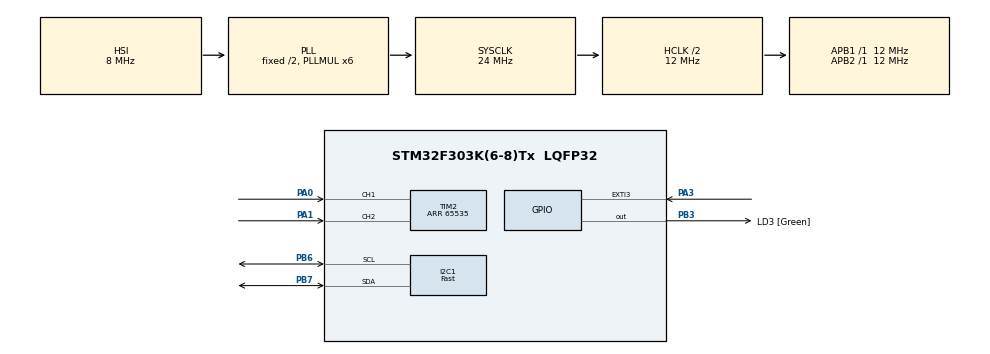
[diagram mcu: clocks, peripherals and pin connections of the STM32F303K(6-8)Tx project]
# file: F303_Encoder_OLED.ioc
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I2C1.I2C_Speed_Mode=I2C_Fast
I2C1.Timing=0x0000020B
Mcu.Family=STM32F3
Mcu.Name=STM32F303K(6-8)Tx
Mcu.Package=LQFP32
NVIC.EXTI3_IRQn=true\:0\:0\:false\:false\:true\:true\:true
NVIC.PriorityGroup=NVIC_PRIORITYGROUP_4
PA0.Signal=S_TIM2_CH1_ETR
PA1.Signal=S_TIM2_CH2
PA13.GPIO_Label=SWDIO
PA13.Mode=Serial_Wire
PA13.Signal=SYS_JTMS-SWDIO
PA14.GPIO_Label=SWCLK
PA14.Mode=Serial_Wire
PA14.Signal=SYS_JTCK-SWCLK
PA15.GPIO_Label=VCP_RX
PA15.Signal=USART2_RX
PA3.Signal=GPXTI3
PB3.GPIO_Label=LD3 [Green]
PB3.Signal=GPIO_Output
PB6.Mode=I2C
PB6.Signal=I2C1_SCL
PB7.Mode=I2C
PB7.Signal=I2C1_SDA
PF0\ /\ OSC_IN.GPIO_Label=MCO
PF0\ /\ OSC_IN.Mode=HSE-External-Oscillator
PF0\ /\ OSC_IN.Signal=RCC_OSC_IN
PF1\ /\ OSC_OUT.Mode=HSE-External-Oscillator
PF1\ /\ OSC_OUT.Signal=RCC_OSC_OUT
ProjectManager.HeapSize=0x200
ProjectManager.StackSize=0x400
ProjectManager.TargetToolchain=STM32CubeIDE
RCC.AHBCLKDivider=RCC_SYSCLK_DIV2
RCC.AHBFreq_Value=12000000
RCC.APB1Freq_Value=12000000
RCC.APB1TimFreq_Value=12000000
RCC.APB2Freq_Value=12000000
RCC.APB2TimFreq_Value=12000000
RCC.CortexFreq_Value=12000000
RCC.HCLKFreq_Value=12000000
RCC.HSE_VALUE=8000000
RCC.HSI_VALUE=8000000
RCC.PLLMUL=RCC_PLL_MUL6
RCC.SYSCLKFreq_VALUE=24000000
RCC.SYSCLKSourceVirtual=RCC_SYSCLKSOURCE_PLLCLK
SH.S_TIM2_CH1_ETR.0=TIM2_CH1,Encoder_Interface
SH.S_TIM2_CH2.0=TIM2_CH2,Encoder_Interface
TIM2.EncoderMode=TIM_ENCODERMODE_TI12
TIM2.Period=65535
board=NUCLEO-F303K8

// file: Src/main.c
/* USER CODE BEGIN Header */
/**
  ******************************************************************************
  * @file           : main.c
  * @brief          : Main program body
  ******************************************************************************
  * @attention
  *
  * <h2><center>&copy; Copyright (c) 2019 STMicroelectronics.
  * All rights reserved.</center></h2>
  *
  * This software component is licensed by ST under BSD 3-Clause license,
  * the "License"; You may not use this file except in compliance with the
  * License. You may obtain a copy of the License at:
  *                        opensource.org/licenses/BSD-3-Clause
  *
  ******************************************************************************
  */
/* USER CODE END Header */

#include "main.h"

/* USER CODE BEGIN Includes */
#include "ssd1306.h"
/* USER CODE END Includes */

I2C_HandleTypeDef hi2c1;

TIM_HandleTypeDef htim2;

/* USER CODE BEGIN PV */
int16_t n_pulsos_a = 0;
int16_t prev_a = 0;
/* USER CODE END PV */

void SystemClock_Config(void);
static void MX_GPIO_Init(void);
static void MX_I2C1_Init(void);
static void MX_TIM2_Init(void);

int main(void)
{

  /* MCU Configuration--------------------------------------------------------*/

  /* Reset of all peripherals, Initializes the Flash interface and the Systick. */
  HAL_Init();

  /* Configure the system clock */
  SystemClock_Config();

  /* Initialize all configured peripherals */
  MX_GPIO_Init();
  MX_I2C1_Init();
  MX_TIM2_Init();
  /* USER CODE BEGIN 2 */
  set_oled_addr(0x78);
  ssd1306_sel_I2C(&hi2c1);
  SSD1306_Init ();

  SSD1306_Putint(n_pulsos_a, 1);
  SSD1306_UpdateScreen();

  HAL_TIM_Encoder_Start(&htim2, TIM_CHANNEL_2);
  /* USER CODE END 2 */

  /* Infinite loop */
  /* USER CODE BEGIN WHILE */
  while (1)
  {
	  n_pulsos_a = (TIM2->CNT);
	  n_pulsos_a = n_pulsos_a/4;
	  if(n_pulsos_a < 0){
		  n_pulsos_a = 0;
		  TIM2->CNT = 0;
	  }
	  if (n_pulsos_a > 100){
		  n_pulsos_a = 100;
		  TIM2->CNT = 400;
	  }

	  if (prev_a != n_pulsos_a){
		  prev_a = n_pulsos_a;
		  SSD1306_Putint(n_pulsos_a, 1);
		  SSD1306_UpdateScreen();
	  	  }

	  HAL_Delay(50);
    /* USER CODE END WHILE */

  }
}

void SystemClock_Config(void)
{
  RCC_OscInitTypeDef RCC_OscInitStruct = {0};
  RCC_ClkInitTypeDef RCC_ClkInitStruct = {0};
  RCC_PeriphCLKInitTypeDef PeriphClkInit = {0};

  /** Initializes the CPU, AHB and APB busses clocks
  */
  RCC_OscInitStruct.OscillatorType = RCC_OSCILLATORTYPE_HSI;
  RCC_OscInitStruct.HSIState = RCC_HSI_ON;
  RCC_OscInitStruct.HSICalibrationValue = RCC_HSICALIBRATION_DEFAULT;
  RCC_OscInitStruct.PLL.PLLState = RCC_PLL_ON;
  RCC_OscInitStruct.PLL.PLLSource = RCC_PLLSOURCE_HSI;
  RCC_OscInitStruct.PLL.PLLMUL = RCC_PLL_MUL6;
  if (HAL_RCC_OscConfig(&RCC_OscInitStruct) != HAL_OK)
  {
    Error_Handler();
  }
  /** Initializes the CPU, AHB and APB busses clocks
  */
  RCC_ClkInitStruct.ClockType = RCC_CLOCKTYPE_HCLK|RCC_CLOCKTYPE_SYSCLK
                              |RCC_CLOCKTYPE_PCLK1|RCC_CLOCKTYPE_PCLK2;
  RCC_ClkInitStruct.SYSCLKSource = RCC_SYSCLKSOURCE_PLLCLK;
  RCC_ClkInitStruct.AHBCLKDivider = RCC_SYSCLK_DIV2;
  RCC_ClkInitStruct.APB1CLKDivider = RCC_HCLK_DIV1;
  RCC_ClkInitStruct.APB2CLKDivider = RCC_HCLK_DIV1;

  if (HAL_RCC_ClockConfig(&RCC_ClkInitStruct, FLASH_LATENCY_0) != HAL_OK)
  {
    Error_Handler();
  }
  PeriphClkInit.PeriphClockSelection = RCC_PERIPHCLK_I2C1;
  PeriphClkInit.I2c1ClockSelection = RCC_I2C1CLKSOURCE_HSI;
  if (HAL_RCCEx_PeriphCLKConfig(&PeriphClkInit) != HAL_OK)
  {
    Error_Handler();
  }
}

static void MX_I2C1_Init(void)
{

  hi2c1.Instance = I2C1;
  hi2c1.Init.Timing = 0x0000020B;
  hi2c1.Init.OwnAddress1 = 0;
  hi2c1.Init.AddressingMode = I2C_ADDRESSINGMODE_7BIT;
  hi2c1.Init.DualAddressMode = I2C_DUALADDRESS_DISABLE;
  hi2c1.Init.OwnAddress2 = 0;
  hi2c1.Init.OwnAddress2Masks = I2C_OA2_NOMASK;
  hi2c1.Init.GeneralCallMode = I2C_GENERALCALL_DISABLE;
  hi2c1.Init.NoStretchMode = I2C_NOSTRETCH_DISABLE;
  if (HAL_I2C_Init(&hi2c1) != HAL_OK)
  {
    Error_Handler();
  }
  /** Configure Analogue filter
  */
  if (HAL_I2CEx_ConfigAnalogFilter(&hi2c1, I2C_ANALOGFILTER_ENABLE) != HAL_OK)
  {
    Error_Handler();
  }
  /** Configure Digital filter
  */
  if (HAL_I2CEx_ConfigDigitalFilter(&hi2c1, 0) != HAL_OK)
  {
    Error_Handler();
  }

}

static void MX_TIM2_Init(void)
{

  TIM_Encoder_InitTypeDef sConfig = {0};
  TIM_MasterConfigTypeDef sMasterConfig = {0};

  htim2.Instance = TIM2;
  htim2.Init.Prescaler = 0;
  htim2.Init.CounterMode = TIM_COUNTERMODE_UP;
  htim2.Init.Period = 65535;
  htim2.Init.ClockDivision = TIM_CLOCKDIVISION_DIV1;
  htim2.Init.AutoReloadPreload = TIM_AUTORELOAD_PRELOAD_DISABLE;
  sConfig.EncoderMode = TIM_ENCODERMODE_TI12;
  sConfig.IC1Polarity = TIM_ICPOLARITY_RISING;
  sConfig.IC1Selection = TIM_ICSELECTION_DIRECTTI;
  sConfig.IC1Prescaler = TIM_ICPSC_DIV1;
  sConfig.IC1Filter = 0;
  sConfig.IC2Polarity = TIM_ICPOLARITY_RISING;
  sConfig.IC2Selection = TIM_ICSELECTION_DIRECTTI;
  sConfig.IC2Prescaler = TIM_ICPSC_DIV1;
  sConfig.IC2Filter = 0;
  if (HAL_TIM_Encoder_Init(&htim2, &sConfig) != HAL_OK)
  {
    Error_Handler();
  }
  sMasterConfig.MasterOutputTrigger = TIM_TRGO_RESET;
  sMasterConfig.MasterSlaveMode = TIM_MASTERSLAVEMODE_DISABLE;
  if (HAL_TIMEx_MasterConfigSynchronization(&htim2, &sMasterConfig) != HAL_OK)
  {
    Error_Handler();
  }

}

static void MX_GPIO_Init(void)
{
  GPIO_InitTypeDef GPIO_InitStruct = {0};

  /* GPIO Ports Clock Enable */
  __HAL_RCC_GPIOF_CLK_ENABLE();
  __HAL_RCC_GPIOA_CLK_ENABLE();
  __HAL_RCC_GPIOB_CLK_ENABLE();

  /*Configure GPIO pin Output Level */
  HAL_GPIO_WritePin(LD3_GPIO_Port, LD3_Pin, GPIO_PIN_RESET);

  /*Configure GPIO pin : PA3 */
  GPIO_InitStruct.Pin = GPIO_PIN_3;
  GPIO_InitStruct.Mode = GPIO_MODE_IT_RISING;
  GPIO_InitStruct.Pull = GPIO_NOPULL;
  HAL_GPIO_Init(GPIOA, &GPIO_InitStruct);

  /*Configure GPIO pin : VCP_RX_Pin */
  GPIO_InitStruct.Pin = VCP_RX_Pin;
  GPIO_InitStruct.Mode = GPIO_MODE_AF_PP;
  GPIO_InitStruct.Pull = GPIO_NOPULL;
  GPIO_InitStruct.Speed = GPIO_SPEED_FREQ_HIGH;
  GPIO_InitStruct.Alternate = GPIO_AF7_USART2;
  HAL_GPIO_Init(VCP_RX_GPIO_Port, &GPIO_InitStruct);

  /*Configure GPIO pin : LD3_Pin */
  GPIO_InitStruct.Pin = LD3_Pin;
  GPIO_InitStruct.Mode = GPIO_MODE_OUTPUT_PP;
  GPIO_InitStruct.Pull = GPIO_NOPULL;
  GPIO_InitStruct.Speed = GPIO_SPEED_FREQ_LOW;
  HAL_GPIO_Init(LD3_GPIO_Port, &GPIO_InitStruct);

  /* EXTI interrupt init*/
  HAL_NVIC_SetPriority(EXTI3_IRQn, 0, 0);
  HAL_NVIC_EnableIRQ(EXTI3_IRQn);

}

/* USER CODE BEGIN 4 */
void HAL_GPIO_EXTI_Callback(uint16_t GPIO_Pin) {
	if(GPIO_Pin==GPIO_PIN_3){
		TIM2->CNT = 0;
	}
}
/* USER CODE END 4 */

void Error_Handler(void)
{
}

/************************ (C) COPYRIGHT STMicroelectronics *****END OF FILE****/
